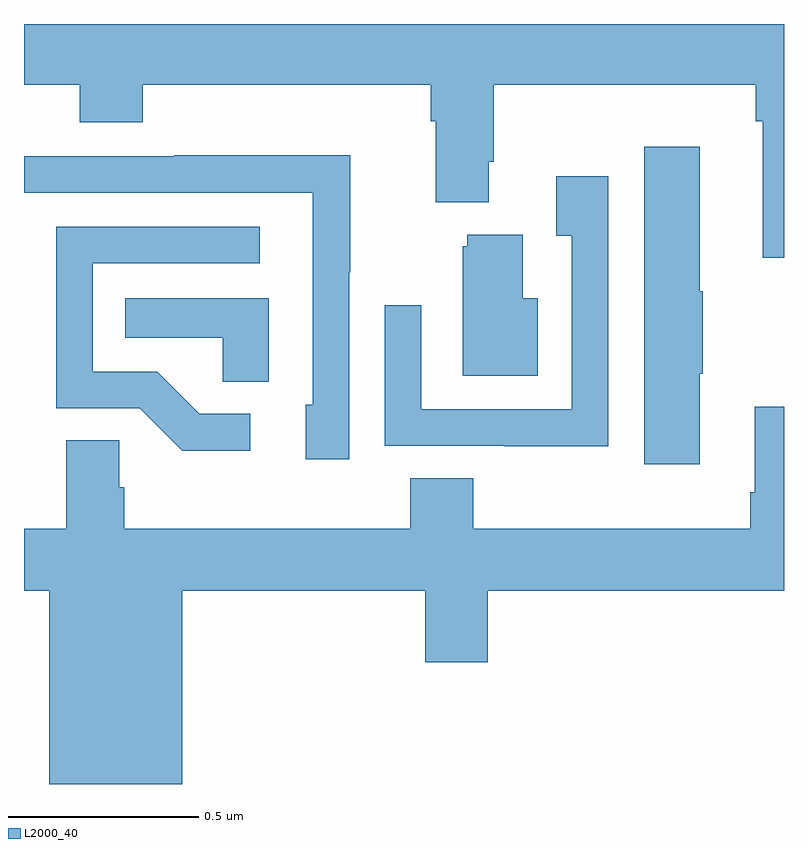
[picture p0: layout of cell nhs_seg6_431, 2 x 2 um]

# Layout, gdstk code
import gdstk
lib = gdstk.Library(unit=1e-6, precision=1e-09)
def P(c, l, *ps):  # polygons
    for p in ps: c.add(gdstk.Polygon(p, *l))
L2000_40 = (2000, 40)

nhs_seg6_431 = lib.new_cell('nhs_seg6_431')
P(nhs_seg6_431, L2000_40, [(118,943.5),(116,943.5),(116,943.34),(116.147,943.34),(116.147,943.241),(116.312,943.241),(116.312,943.34),(117.071,943.34),(117.071,943.244),(117.083,943.244),(117.083,943.031),(117.223,943.031),(117.223,943.138),(117.236,943.138),(117.236,943.34),(117.925,943.34),(117.925,943.244),(117.944,943.244),(117.944,942.885),(118,942.885)],
  [(117.778,942.58),(117.786,942.58),(117.786,942.797),(117.778,942.797),(117.778,943.177),(117.632,943.177),(117.632,942.342),(117.778,942.342)],
  [(116.856,942.847),(116.859,942.847),(116.859,943.154),(116.395,943.154),(116.395,943.152),(116,943.152),(116,943.056),(116.76,943.056),(116.76,942.498),(116.741,942.498),(116.741,942.354),(116.856,942.354)],
  [(117.537,943.099),(117.401,943.099),(117.401,942.943),(117.441,942.943),(117.441,942.486),(117.045,942.486),(117.045,942.76),(116.949,942.76),(116.949,942.39),(117.265,942.39),(117.265,942.389),(117.537,942.389)],
  [(116.596,942.474),(116.461,942.474),(116.35,942.585),(116.181,942.585),(116.181,942.87),(116.62,942.87),(116.62,942.966),(116.085,942.966),(116.085,942.489),(116.304,942.489),(116.417,942.377),(116.596,942.377)],
  [(117.352,942.778),(117.313,942.778),(117.313,942.946),(117.167,942.946),(117.167,942.915),(117.155,942.915),(117.155,942.575),(117.352,942.575)],
  [(116.644,942.778),(116.266,942.778),(116.266,942.674),(116.523,942.674),(116.523,942.559),(116.644,942.559)],
  [(116.416,942.008),(117.056,942.008),(117.056,941.82),(117.22,941.82),(117.22,942.008),(118,942.008),(118,942.493),(117.923,942.493),(117.923,942.268),(117.911,942.268),(117.911,942.172),(117.182,942.172),(117.182,942.305),(117.017,942.305),(117.017,942.172),(116.264,942.172),(116.264,942.281),(116.25,942.281),(116.25,942.404),(116.111,942.404),(116.111,942.172),(116,942.172),(116,942.008),(116.066,942.008),(116.066,941.5),(116.416,941.5)])

lib.write_gds('nhs_seg6_431.gds')
